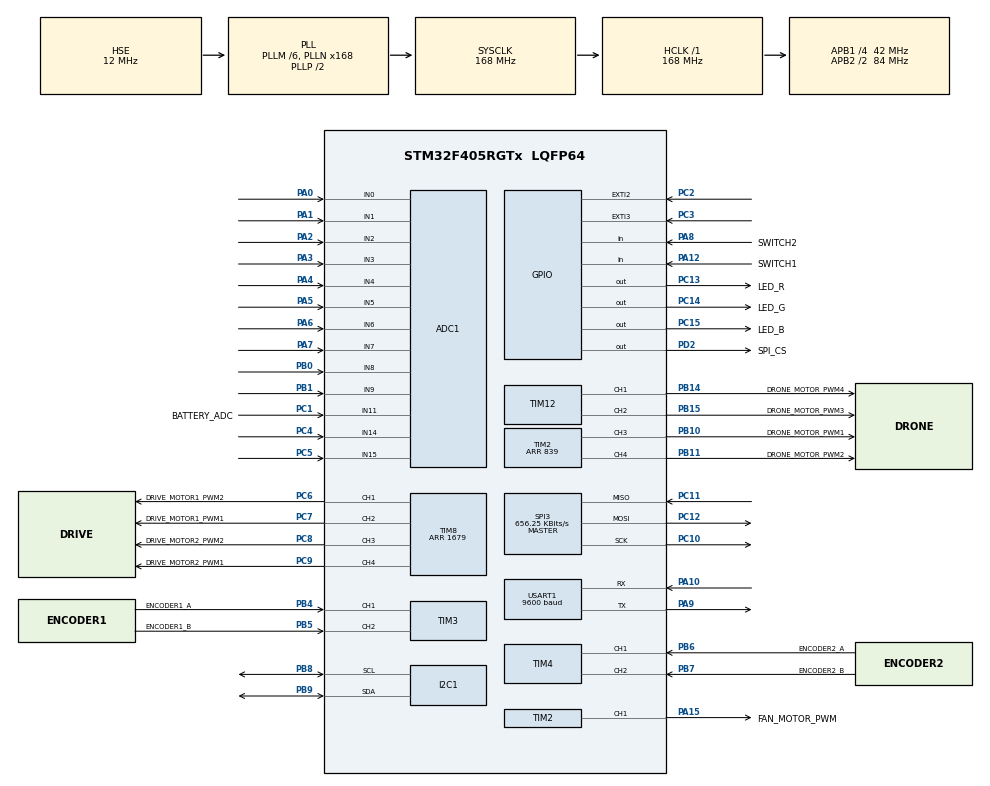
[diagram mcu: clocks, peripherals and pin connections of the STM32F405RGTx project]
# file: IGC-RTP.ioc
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ADC1.Channel-0\#ChannelRegularConversion=ADC_CHANNEL_0
ADC1.Channel-1\#ChannelRegularConversion=ADC_CHANNEL_1
ADC1.Channel-10\#ChannelRegularConversion=ADC_CHANNEL_14
ADC1.Channel-11\#ChannelRegularConversion=ADC_CHANNEL_15
ADC1.Channel-2\#ChannelRegularConversion=ADC_CHANNEL_2
ADC1.Channel-3\#ChannelRegularConversion=ADC_CHANNEL_3
ADC1.Channel-4\#ChannelRegularConversion=ADC_CHANNEL_4
ADC1.Channel-5\#ChannelRegularConversion=ADC_CHANNEL_5
ADC1.Channel-6\#ChannelRegularConversion=ADC_CHANNEL_6
ADC1.Channel-7\#ChannelRegularConversion=ADC_CHANNEL_7
ADC1.Channel-8\#ChannelRegularConversion=ADC_CHANNEL_8
ADC1.Channel-9\#ChannelRegularConversion=ADC_CHANNEL_9
ADC1.ClockPrescaler=ADC_CLOCK_SYNC_PCLK_DIV4
ADC1.ContinuousConvMode=ENABLE
ADC1.DMAContinuousRequests=ENABLE
ADC1.NbrOfConversion=12
ADC1.NbrOfConversionFlag=1
ADC1.Rank-0\#ChannelRegularConversion=1
ADC1.Rank-1\#ChannelRegularConversion=2
ADC1.Rank-10\#ChannelRegularConversion=11
ADC1.Rank-11\#ChannelRegularConversion=12
ADC1.Rank-2\#ChannelRegularConversion=3
ADC1.Rank-3\#ChannelRegularConversion=4
ADC1.Rank-4\#ChannelRegularConversion=5
ADC1.Rank-5\#ChannelRegularConversion=6
ADC1.Rank-6\#ChannelRegularConversion=7
ADC1.Rank-7\#ChannelRegularConversion=8
ADC1.Rank-8\#ChannelRegularConversion=9
ADC1.Rank-9\#ChannelRegularConversion=10
ADC1.SamplingTime-0\#ChannelRegularConversion=ADC_SAMPLETIME_84CYCLES
ADC1.SamplingTime-1\#ChannelRegularConversion=ADC_SAMPLETIME_84CYCLES
ADC1.SamplingTime-10\#ChannelRegularConversion=ADC_SAMPLETIME_84CYCLES
ADC1.SamplingTime-11\#ChannelRegularConversion=ADC_SAMPLETIME_84CYCLES
ADC1.SamplingTime-2\#ChannelRegularConversion=ADC_SAMPLETIME_84CYCLES
ADC1.SamplingTime-3\#ChannelRegularConversion=ADC_SAMPLETIME_84CYCLES
ADC1.SamplingTime-4\#ChannelRegularConversion=ADC_SAMPLETIME_84CYCLES
ADC1.SamplingTime-5\#ChannelRegularConversion=ADC_SAMPLETIME_84CYCLES
ADC1.SamplingTime-6\#ChannelRegularConversion=ADC_SAMPLETIME_84CYCLES
ADC1.SamplingTime-7\#ChannelRegularConversion=ADC_SAMPLETIME_84CYCLES
ADC1.SamplingTime-8\#ChannelRegularConversion=ADC_SAMPLETIME_84CYCLES
ADC1.SamplingTime-9\#ChannelRegularConversion=ADC_SAMPLETIME_84CYCLES
ADC1.ScanConvMode=ENABLE
ADC1.master=1
ADC2.Channel-0\#ChannelRegularConversion=ADC_CHANNEL_11
ADC2.ClockPrescaler=ADC_CLOCK_SYNC_PCLK_DIV4
ADC2.ContinuousConvMode=ENABLE
ADC2.DMAContinuousRequests=ENABLE
ADC2.NbrOfConversionFlag=1
ADC2.Rank-0\#ChannelRegularConversion=1
ADC2.SamplingTime-0\#ChannelRegularConversion=ADC_SAMPLETIME_480CYCLES
ADC2.ScanConvMode=ENABLE
Dma.ADC1.0.Direction=DMA_PERIPH_TO_MEMORY
Dma.ADC1.0.FIFOMode=DMA_FIFOMODE_DISABLE
Dma.ADC1.0.Instance=DMA2_Stream0
Dma.ADC1.0.MemDataAlignment=DMA_MDATAALIGN_HALFWORD
Dma.ADC1.0.MemInc=DMA_MINC_ENABLE
Dma.ADC1.0.Mode=DMA_CIRCULAR
Dma.ADC1.0.PeriphDataAlignment=DMA_PDATAALIGN_HALFWORD
Dma.ADC1.0.PeriphInc=DMA_PINC_DISABLE
Dma.ADC1.0.Priority=DMA_PRIORITY_LOW
Dma.ADC2.1.Direction=DMA_PERIPH_TO_MEMORY
Dma.ADC2.1.FIFOMode=DMA_FIFOMODE_DISABLE
Dma.ADC2.1.Instance=DMA2_Stream2
Dma.ADC2.1.MemDataAlignment=DMA_MDATAALIGN_HALFWORD
Dma.ADC2.1.MemInc=DMA_MINC_ENABLE
Dma.ADC2.1.Mode=DMA_CIRCULAR
Dma.ADC2.1.PeriphDataAlignment=DMA_PDATAALIGN_HALFWORD
Dma.ADC2.1.PeriphInc=DMA_PINC_DISABLE
Dma.ADC2.1.Priority=DMA_PRIORITY_LOW
Dma.Request0=ADC1
Dma.Request1=ADC2
Mcu.Family=STM32F4
Mcu.Name=STM32F405RGTx
Mcu.Package=LQFP64
NVIC.DMA2_Stream0_IRQn=true\:0\:0\:false\:false\:true\:false\:true
NVIC.DMA2_Stream2_IRQn=true\:0\:0\:false\:false\:true\:false\:true
NVIC.EXTI2_IRQn=true\:0\:0\:false\:false\:true\:true\:true
NVIC.EXTI3_IRQn=true\:0\:0\:false\:false\:true\:true\:true
NVIC.PriorityGroup=NVIC_PRIORITYGROUP_4
NVIC.SPI3_IRQn=true\:0\:0\:false\:false\:true\:true\:true
NVIC.TIM6_DAC_IRQn=true\:0\:0\:false\:false\:true\:true\:true
NVIC.TIM7_IRQn=true\:1\:0\:true\:false\:true\:true\:true
PA0-WKUP.Signal=ADCx_IN0
PA1.Signal=ADCx_IN1
PA10.Mode=Asynchronous
PA10.Signal=USART1_RX
PA12.GPIO_Label=SWITCH1
PA12.GPIO_PuPd=GPIO_PULLUP
PA12.Signal=GPIO_Input
PA13.Mode=Trace_Asynchronous_SW
PA13.Signal=SYS_JTMS-SWDIO
PA14.Mode=Trace_Asynchronous_SW
PA14.Signal=SYS_JTCK-SWCLK
PA15.GPIO_Label=FAN_MOTOR_PWM
PA15.Signal=S_TIM2_CH1_ETR
PA2.Signal=ADCx_IN2
PA3.Signal=ADCx_IN3
PA4.Signal=ADCx_IN4
PA5.Signal=ADCx_IN5
PA6.Signal=ADCx_IN6
PA7.Signal=ADCx_IN7
PA8.GPIO_Label=SWITCH2
PA8.GPIO_PuPd=GPIO_PULLUP
PA8.Signal=GPIO_Input
PA9.Mode=Asynchronous
PA9.Signal=USART1_TX
PB0.Signal=ADCx_IN8
PB1.Signal=ADCx_IN9
PB10.GPIO_Label=DRONE_MOTOR_PWM1
PB10.Signal=S_TIM2_CH3
PB11.GPIO_Label=DRONE_MOTOR_PWM2
PB11.Signal=S_TIM2_CH4
PB14.GPIO_Label=DRONE_MOTOR_PWM4
PB14.Signal=S_TIM12_CH1
PB15.GPIO_Label=DRONE_MOTOR_PWM3
PB15.Signal=S_TIM12_CH2
PB3.Mode=Trace_Asynchronous_SW
PB3.Signal=SYS_JTDO-SWO
PB4.GPIO_Label=ENCODER1_A
PB4.Signal=S_TIM3_CH1
PB5.GPIO_Label=ENCODER1_B
PB5.Signal=S_TIM3_CH2
PB6.GPIO_Label=ENCODER2_A
PB6.Signal=S_TIM4_CH1
PB7.GPIO_Label=ENCODER2_B
PB7.Signal=S_TIM4_CH2
PB8.Mode=I2C
PB8.Signal=I2C1_SCL
PB9.Mode=I2C
PB9.Signal=I2C1_SDA
PC1.GPIO_Label=BATTERY_ADC
PC1.Signal=ADCx_IN11
PC10.Mode=Full_Duplex_Master
PC10.Signal=SPI3_SCK
PC11.Mode=Full_Duplex_Master
PC11.Signal=SPI3_MISO
PC12.Mode=Full_Duplex_Master
PC12.Signal=SPI3_MOSI
PC13-ANTI_TAMP.GPIO_Label=LED_R
PC13-ANTI_TAMP.Signal=GPIO_Output
PC14-OSC32_IN.GPIO_Label=LED_G
PC14-OSC32_IN.Signal=GPIO_Output
PC15-OSC32_OUT.GPIO_Label=LED_B
PC15-OSC32_OUT.Signal=GPIO_Output
PC2.GPIO_ModeDefaultEXTI=GPIO_MODE_IT_RISING_FALLING
PC2.Signal=GPXTI2
PC3.GPIO_ModeDefaultEXTI=GPIO_MODE_IT_RISING_FALLING
PC3.Signal=GPXTI3
PC4.Signal=ADCx_IN14
PC5.Signal=ADCx_IN15
PC6.GPIO_Label=DRIVE_MOTOR1_PWM2
PC6.Signal=S_TIM8_CH1
PC7.GPIO_Label=DRIVE_MOTOR1_PWM1
PC7.Signal=S_TIM8_CH2
PC8.GPIO_Label=DRIVE_MOTOR2_PWM2
PC8.Signal=S_TIM8_CH3
PC9.GPIO_Label=DRIVE_MOTOR2_PWM1
PC9.Signal=S_TIM8_CH4
PD2.GPIO_Label=SPI_CS
PD2.Signal=GPIO_Output
PH0-OSC_IN.Mode=HSE-External-Oscillator
PH0-OSC_IN.Signal=RCC_OSC_IN
PH1-OSC_OUT.Mode=HSE-External-Oscillator
PH1-OSC_OUT.Signal=RCC_OSC_OUT
ProjectManager.HeapSize=0x200
ProjectManager.StackSize=0x400
ProjectManager.TargetToolchain=STM32CubeIDE
RCC.48MHZClocksFreq_Value=48000000
RCC.AHBFreq_Value=168000000
RCC.APB1CLKDivider=RCC_HCLK_DIV4
RCC.APB1Freq_Value=42000000
RCC.APB1TimFreq_Value=84000000
RCC.APB2CLKDivider=RCC_HCLK_DIV2
RCC.APB2Freq_Value=84000000
RCC.APB2TimFreq_Value=168000000
RCC.CortexFreq_Value=168000000
RCC.HCLKFreq_Value=168000000
RCC.HSE_VALUE=12000000
RCC.HSI_VALUE=16000000
RCC.LSE_VALUE=32768
RCC.PLLM=6
RCC.PLLN=168
RCC.PLLQ=7
RCC.PLLSourceVirtual=RCC_PLLSOURCE_HSE
RCC.SYSCLKFreq_VALUE=168000000
RCC.SYSCLKSource=RCC_SYSCLKSOURCE_PLLCLK
RCC.VCOOutputFreq_Value=336000000
SH.ADCx_IN0.0=ADC1_IN0,IN0
SH.ADCx_IN1.0=ADC1_IN1,IN1
SH.ADCx_IN11.0=ADC1_IN11,IN11
SH.ADCx_IN11.1=ADC2_IN11,IN11
SH.ADCx_IN14.0=ADC1_IN14,IN14
SH.ADCx_IN15.0=ADC1_IN15,IN15
SH.ADCx_IN2.0=ADC1_IN2,IN2
SH.ADCx_IN3.0=ADC1_IN3,IN3
SH.ADCx_IN4.0=ADC1_IN4,IN4
SH.ADCx_IN5.0=ADC1_IN5,IN5
SH.ADCx_IN6.0=ADC1_IN6,IN6
SH.ADCx_IN7.0=ADC1_IN7,IN7
SH.ADCx_IN8.0=ADC1_IN8,IN8
SH.ADCx_IN9.0=ADC1_IN9,IN9
SH.S_TIM12_CH1.0=TIM12_CH1,PWM Generation1 CH1
SH.S_TIM12_CH2.0=TIM12_CH2,PWM Generation2 CH2
SH.S_TIM2_CH1_ETR.0=TIM2_CH1,PWM Generation1 CH1
SH.S_TIM2_CH3.0=TIM2_CH3,PWM Generation3 CH3
SH.S_TIM2_CH4.0=TIM2_CH4,PWM Generation4 CH4
SH.S_TIM3_CH1.0=TIM3_CH1,Encoder_Interface
SH.S_TIM3_CH2.0=TIM3_CH2,Encoder_Interface
SH.S_TIM4_CH1.0=TIM4_CH1,Encoder_Interface
SH.S_TIM4_CH2.0=TIM4_CH2,Encoder_Interface
SH.S_TIM8_CH1.0=TIM8_CH1,PWM Generation1 CH1
SH.S_TIM8_CH2.0=TIM8_CH2,PWM Generation2 CH2
SH.S_TIM8_CH3.0=TIM8_CH3,PWM Generation3 CH3
SH.S_TIM8_CH4.0=TIM8_CH4,PWM Generation4 CH4
SPI3.BaudRatePrescaler=SPI_BAUDRATEPRESCALER_64
SPI3.CLKPolarity=SPI_POLARITY_LOW
SPI3.CalculateBaudRate=656.25 KBits/s
SPI3.Direction=SPI_DIRECTION_2LINES
SPI3.Mode=SPI_MODE_MASTER
SPI3.VirtualType=VM_MASTER
TIM12.Channel-PWM\ Generation1\ CH1=TIM_CHANNEL_1
TIM12.Channel-PWM\ Generation2\ CH2=TIM_CHANNEL_2
TIM2.Channel-PWM\ Generation1\ CH1=TIM_CHANNEL_1
TIM2.Channel-PWM\ Generation3\ CH3=TIM_CHANNEL_3
TIM2.Channel-PWM\ Generation4\ CH4=TIM_CHANNEL_4
TIM2.Period=839
TIM3.EncoderMode=TIM_ENCODERMODE_TI12
TIM4.EncoderMode=TIM_ENCODERMODE_TI12
TIM6.Period=1999
TIM6.Prescaler=41
TIM7.Period=199
TIM7.Prescaler=41
TIM8.Channel-PWM\ Generation1\ CH1=TIM_CHANNEL_1
TIM8.Channel-PWM\ Generation2\ CH2=TIM_CHANNEL_2
TIM8.Channel-PWM\ Generation3\ CH3=TIM_CHANNEL_3
TIM8.Channel-PWM\ Generation4\ CH4=TIM_CHANNEL_4
TIM8.Period=1679
USART1.BaudRate=9600
USART1.VirtualMode=VM_ASYNC
VP_TIM6_VS_ClockSourceINT.Mode=Enable_Timer
VP_TIM7_VS_ClockSourceINT.Mode=Enable_Timer
board=custom

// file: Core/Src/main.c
/* USER CODE BEGIN Header */
/**
  ******************************************************************************
  * @file           : main.c
  * @brief          : Main program body
  ******************************************************************************
  * @attention
  *
  * <h2><center>&copy; Copyright (c) 2022 STMicroelectronics.
  * All rights reserved.</center></h2>
  *
  * This software component is licensed by ST under BSD 3-Clause license,
  * the "License"; You may not use this file except in compliance with the
  * License. You may obtain a copy of the License at:
  *                        opensource.org/licenses/BSD-3-Clause
  *
  ******************************************************************************
  */
/* USER CODE END Header */
#include "main.h"

/* USER CODE BEGIN Includes */
#include "Motor.h"
#include "LineSensor.h"
#include "SideSensor.h"
#include "LineChase.h"
#include "Running.h"
#include "MPU6500.h"
#include "IMU.h"
#include "LED.h"
#include "Switch.h"
#include "BatteryChecker.h"
#include "stdio.h"
#include "Logger.h"

/* USER CODE END Includes */

ADC_HandleTypeDef hadc1;
ADC_HandleTypeDef hadc2;
DMA_HandleTypeDef hdma_adc1;
DMA_HandleTypeDef hdma_adc2;

I2C_HandleTypeDef hi2c1;

SPI_HandleTypeDef hspi3;

TIM_HandleTypeDef htim2;
TIM_HandleTypeDef htim3;
TIM_HandleTypeDef htim4;
TIM_HandleTypeDef htim6;
TIM_HandleTypeDef htim7;
TIM_HandleTypeDef htim8;
TIM_HandleTypeDef htim12;

UART_HandleTypeDef huart1;

/* USER CODE BEGIN PV */

uint32_t timer, timer1;
uint16_t second_run_flag;

uint16_t mode_selector = 0;

/* USER CODE END PV */

void SystemClock_Config(void);
static void MX_GPIO_Init(void);
static void MX_DMA_Init(void);
static void MX_ADC1_Init(void);
static void MX_I2C1_Init(void);
static void MX_TIM2_Init(void);
static void MX_TIM3_Init(void);
static void MX_TIM4_Init(void);
static void MX_TIM8_Init(void);
static void MX_SPI3_Init(void);
static void MX_TIM12_Init(void);
static void MX_USART1_UART_Init(void);
static void MX_TIM6_Init(void);
static void MX_TIM7_Init(void);
static void MX_ADC2_Init(void);

/* USER CODE BEGIN 0 */
#ifdef __GNUC__
	#define PUTCHAR_PROTOTYPE int __io_putchar(int ch)
#else
	#define PUTCHAR_PROTOTYPE int fputc(int ch, FILE *f)
#endif /*__GNUC__*/

PUTCHAR_PROTOTYPE{
	HAL_UART_Transmit(&huart1, (uint8_t*)&ch, 1, 0xFFFF);
	return ch;
}

void HAL_TIM_PeriodElapsedCallback(TIM_HandleTypeDef *htim)
{
   if(htim->Instance == TIM6){ //1ms
		timer++;
		updateEncoderCnt(); //Do not move from HERE!!

		batteryCheckFlip();
		updateIMUValue();
		updateAnalogSensor();
		updateSideSensorStatus();

		calculateVelocityControlFlip();
		calculateLineFollowingTermFlip();
		lineTraceFlip();
		checkCourseOut();

		runningFlip();
		motorCtrlFlip();
		droneMotorCtrlFlip();
		suctionMotorCtrlFlip();

		resetEncoderCnt(); //Do not move from HERE!!
   }
   if(htim->Instance == TIM7){ //0.1ms
       timer1++;
       storeAnalogSensorBuffer();
   }
}

void HAL_GPIO_EXTI_Callback(uint16_t GPIO_Pin)
{
	if(GPIO_Pin == GPIO_PIN_2){ //leght
		updateStatusLeftExti();
	}

	else if(GPIO_Pin == GPIO_PIN_3){ //right
		updateStatusRightExti();
	}
}

void init(void)
{
	initEncoder();
	initADC();
	initBatteryChecker();
	initLog();
	setLED('N');
	initGyro();
	if(initGyro() == 1){
		setRGB('B');
		HAL_Delay(1000);
		setRGB('b');
	}
	else{
		setRGB('R');
		HAL_Delay(1000);
		setRGB('r');

	}
	second_run_flag = 1;

	HAL_TIM_Base_Start_IT(&htim6); //Timer interrupt
	HAL_TIM_Base_Start_IT(&htim7); //Timer interrupt
	initMotor();

	setLED('R');
    sensorCalibration();

	HAL_Delay(500);
	if(isBatteryLow() == true){
		uint16_t i = 0;
		for(i = 0; i < 10; i++){
			setLED('R');
			HAL_Delay(33);
			setLED('G');
			HAL_Delay(33);
			setLED('B');
			HAL_Delay(33);
		}
	}
}

/* USER CODE END 0 */

int main(void)
{

  /* MCU Configuration--------------------------------------------------------*/

  /* Reset of all peripherals, Initializes the Flash interface and the Systick. */
  HAL_Init();

  /* Configure the system clock */
  SystemClock_Config();

  /* Initialize all configured peripherals */
  MX_GPIO_Init();
  MX_DMA_Init();
  MX_ADC1_Init();
  MX_I2C1_Init();
  MX_TIM2_Init();
  MX_TIM3_Init();
  MX_TIM4_Init();
  MX_TIM8_Init();
  MX_SPI3_Init();
  MX_TIM12_Init();
  MX_USART1_UART_Init();
  MX_TIM6_Init();
  MX_TIM7_Init();
  MX_ADC2_Init();
  /* USER CODE BEGIN 2 */

  init();

  /*
 	//startLineTrace();
	startVelocityControl();
	setTargetVelocity(1.0);
	//setMotor(300, 300);
	HAL_Delay(500);
	//setMotor(-2000, -2000);
	setTargetVelocity(0.0);
	//stopVelocityControl();
	//setMotor(0, 0);
	*/

  //setMotor(300, 300);
  //while(1);

  /* USER CODE END 2 */

  /* Infinite loop */
  /* USER CODE BEGIN WHILE */
  while (1)
  {

	  if(getSwitchStatus('L') == true){
		  mode_selector++;
		  HAL_Delay(500);
		  if(mode_selector >= 7) mode_selector = 0;
	  }

	  switch(mode_selector){
		  case 0:
			  setLED('B');

			  if(getSwitchStatus('R') == true){ //run
				  setLED('N');
				  setRunMode(1);
				  setVelocityRange(1.5, 1.5);
				  HAL_Delay(500);

				  running();
			  }

			  break;

		  case 1:
			  setLED('C');

			  if(getSwitchStatus('R') == true) { //run
				  setLED('N');
				  setRunMode(2);
				  setVelocityRange(1.7, 3.0);
				  setAccDec(5, 2);
				  setStraightRadius(1000); //Do Not Change
				  HAL_Delay(500);

				  running();
			  }

			  break;

		  case 2:
			  setLED('Y');

			  if(getSwitchStatus('R') == true) { //run

				  setLED('N');
				  setRunMode(3);
				  setVelocityRange(1.7, 4.0);
				  setAccDec(8, 3);
				  setStraightRadius(1000); //Do Not Change
				  HAL_Delay(500);

				  running();
			  }

			  break;

		  case 3:
			  setLED('M');
			  if(getSwitchStatus('R') == true) {

				  setLED('N');
				  setRunMode(3);
				  setVelocityRange(1.6, 5.0);
				  setAccDec(8, 2); //6, 2
				  setStraightRadius(1000); //Do Not Change
				  HAL_Delay(500);

				  running();
			  }

			  break;

		  case 4:
			  setLED('R');
			  if(getSwitchStatus('R') == true) {

				  setLED('N');
				  setRunMode(3);
				  setVelocityRange(2.7, 6.5); //1.7, 6.0
				  setAccDec(8, 3); //8, 3
				  setStraightRadius(1000); //Do Not Change
				  HAL_Delay(500);

				  running();
			  }
			  break;

		  case 5:
			  setLED('G');
			  if(getSwitchStatus('R') == true) {
				  setLED('N');
				  loadDistance();
				  loadTheta();
				  loadCross();
				  loadSide();
				  loadDebug();

				  setRunMode(2);
				  setVelocityRange(1.8, 5.0);
				  setAccDec(8, 3);
				  createVelocityTable();

				  printf("Distance, Theta\r\n");
				  for(uint16_t i = 0; i < getDistanceLogSize(); i++){
					 printf("%f, %f\r\n", getDistanceLog(i), getThetaLog(i));
				  }

				  printf("9999, 9999\r\n");

				  printf("TargetVelocity, CurrentVelocity\r\n");
				  uint16_t size = getDebugLogSize();
				  for(uint16_t i = 0; i < size; i = i+2){
					 printf("%f, %f\r\n", getDebugLog(i), getDebugLog(i + 1));
				  }
			  }

			  break;

		  case 6:
			  setLED('W');
			  if(getSwitchStatus('R') == true) {
				  setSuctionMotor(200);
				  HAL_Delay(1000);
				  setSuctionMotor(0);
			  }
	  };

	  /*
	  //LED
	  HAL_GPIO_WritePin(GPIOC, GPIO_PIN_13, GPIO_PIN_SET);
	  HAL_GPIO_WritePin(GPIOC, GPIO_PIN_14, GPIO_PIN_SET);
	  HAL_GPIO_WritePin(GPIOC, GPIO_PIN_15, GPIO_PIN_SET);

	  //motor_L = 900;
	  //motor_R = 500;
	  HAL_Delay(1000);

	  //LED
	  HAL_GPIO_WritePin(GPIOC, GPIO_PIN_13, GPIO_PIN_RESET);
	  HAL_GPIO_WritePin(GPIOC, GPIO_PIN_14, GPIO_PIN_RESET);
	  HAL_GPIO_WritePin(GPIOC, GPIO_PIN_15, GPIO_PIN_RESET);

	  HAL_Delay(1000);
	  */
    /* USER CODE END WHILE */

  }
}

void SystemClock_Config(void)
{
  RCC_OscInitTypeDef RCC_OscInitStruct = {0};
  RCC_ClkInitTypeDef RCC_ClkInitStruct = {0};

  /** Configure the main internal regulator output voltage
  */
  __HAL_RCC_PWR_CLK_ENABLE();
  __HAL_PWR_VOLTAGESCALING_CONFIG(PWR_REGULATOR_VOLTAGE_SCALE1);
  /** Initializes the RCC Oscillators according to the specified parameters
  * in the RCC_OscInitTypeDef structure.
  */
  RCC_OscInitStruct.OscillatorType = RCC_OSCILLATORTYPE_HSE;
  RCC_OscInitStruct.HSEState = RCC_HSE_ON;
  RCC_OscInitStruct.PLL.PLLState = RCC_PLL_ON;
  RCC_OscInitStruct.PLL.PLLSource = RCC_PLLSOURCE_HSE;
  RCC_OscInitStruct.PLL.PLLM = 6;
  RCC_OscInitStruct.PLL.PLLN = 168;
  RCC_OscInitStruct.PLL.PLLP = RCC_PLLP_DIV2;
  RCC_OscInitStruct.PLL.PLLQ = 7;
  if (HAL_RCC_OscConfig(&RCC_OscInitStruct) != HAL_OK)
  {
    Error_Handler();
  }
  /** Initializes the CPU, AHB and APB buses clocks
  */
  RCC_ClkInitStruct.ClockType = RCC_CLOCKTYPE_HCLK|RCC_CLOCKTYPE_SYSCLK
                              |RCC_CLOCKTYPE_PCLK1|RCC_CLOCKTYPE_PCLK2;
  RCC_ClkInitStruct.SYSCLKSource = RCC_SYSCLKSOURCE_PLLCLK;
  RCC_ClkInitStruct.AHBCLKDivider = RCC_SYSCLK_DIV1;
  RCC_ClkInitStruct.APB1CLKDivider = RCC_HCLK_DIV4;
  RCC_ClkInitStruct.APB2CLKDivider = RCC_HCLK_DIV2;

  if (HAL_RCC_ClockConfig(&RCC_ClkInitStruct, FLASH_LATENCY_5) != HAL_OK)
  {
    Error_Handler();
  }
}

static void MX_ADC1_Init(void)
{

  ADC_ChannelConfTypeDef sConfig = {0};

  /** Configure the global features of the ADC (Clock, Resolution, Data Alignment and number of conversion)
  */
  hadc1.Instance = ADC1;
  hadc1.Init.ClockPrescaler = ADC_CLOCK_SYNC_PCLK_DIV4;
  hadc1.Init.Resolution = ADC_RESOLUTION_12B;
  hadc1.Init.ScanConvMode = ENABLE;
  hadc1.Init.ContinuousConvMode = ENABLE;
  hadc1.Init.DiscontinuousConvMode = DISABLE;
  hadc1.Init.ExternalTrigConvEdge = ADC_EXTERNALTRIGCONVEDGE_NONE;
  hadc1.Init.ExternalTrigConv = ADC_SOFTWARE_START;
  hadc1.Init.DataAlign = ADC_DATAALIGN_RIGHT;
  hadc1.Init.NbrOfConversion = 12;
  hadc1.Init.DMAContinuousRequests = ENABLE;
  hadc1.Init.EOCSelection = ADC_EOC_SINGLE_CONV;
  if (HAL_ADC_Init(&hadc1) != HAL_OK)
  {
    Error_Handler();
  }
  /** Configure for the selected ADC regular channel its corresponding rank in the sequencer and its sample time.
  */
  sConfig.Channel = ADC_CHANNEL_0;
  sConfig.Rank = 1;
  sConfig.SamplingTime = ADC_SAMPLETIME_84CYCLES;
  if (HAL_ADC_ConfigChannel(&hadc1, &sConfig) != HAL_OK)
  {
    Error_Handler();
  }
  /** Configure for the selected ADC regular channel its corresponding rank in the sequencer and its sample time.
  */
  sConfig.Channel = ADC_CHANNEL_1;
  sConfig.Rank = 2;
  if (HAL_ADC_ConfigChannel(&hadc1, &sConfig) != HAL_OK)
  {
    Error_Handler();
  }
  /** Configure for the selected ADC regular channel its corresponding rank in the sequencer and its sample time.
  */
  sConfig.Channel = ADC_CHANNEL_2;
  sConfig.Rank = 3;
  if (HAL_ADC_ConfigChannel(&hadc1, &sConfig) != HAL_OK)
  {
    Error_Handler();
  }
  /** Configure for the selected ADC regular channel its corresponding rank in the sequencer and its sample time.
  */
  sConfig.Channel = ADC_CHANNEL_3;
  sConfig.Rank = 4;
  if (HAL_ADC_ConfigChannel(&hadc1, &sConfig) != HAL_OK)
  {
    Error_Handler();
  }
  /** Configure for the selected ADC regular channel its corresponding rank in the sequencer and its sample time.
  */
  sConfig.Channel = ADC_CHANNEL_4;
  sConfig.Rank = 5;
  if (HAL_ADC_ConfigChannel(&hadc1, &sConfig) != HAL_OK)
  {
    Error_Handler();
  }
  /** Configure for the selected ADC regular channel its corresponding rank in the sequencer and its sample time.
  */
  sConfig.Channel = ADC_CHANNEL_5;
  sConfig.Rank = 6;
  if (HAL_ADC_ConfigChannel(&hadc1, &sConfig) != HAL_OK)
  {
    Error_Handler();
  }
  /** Configure for the selected ADC regular channel its corresponding rank in the sequencer and its sample time.
  */
  sConfig.Channel = ADC_CHANNEL_6;
  sConfig.Rank = 7;
  if (HAL_ADC_ConfigChannel(&hadc1, &sConfig) != HAL_OK)
  {
    Error_Handler();
  }
  /** Configure for the selected ADC regular channel its corresponding rank in the sequencer and its sample time.
  */
  sConfig.Channel = ADC_CHANNEL_7;
  sConfig.Rank = 8;
  if (HAL_ADC_ConfigChannel(&hadc1, &sConfig) != HAL_OK)
  {
    Error_Handler();
  }
  /** Configure for the selected ADC regular channel its corresponding rank in the sequencer and its sample time.
  */
  sConfig.Channel = ADC_CHANNEL_8;
  sConfig.Rank = 9;
  if (HAL_ADC_ConfigChannel(&hadc1, &sConfig) != HAL_OK)
  {
    Error_Handler();
  }
  /** Configure for the selected ADC regular channel its corresponding rank in the sequencer and its sample time.
  */
  sConfig.Channel = ADC_CHANNEL_9;
  sConfig.Rank = 10;
  if (HAL_ADC_ConfigChannel(&hadc1, &sConfig) != HAL_OK)
  {
    Error_Handler();
  }
  /** Configure for the selected ADC regular channel its corresponding rank in the sequencer and its sample time.
  */
  sConfig.Channel = ADC_CHANNEL_14;
  sConfig.Rank = 11;
  if (HAL_ADC_ConfigChannel(&hadc1, &sConfig) != HAL_OK)
  {
    Error_Handler();
  }
  /** Configure for the selected ADC regular channel its corresponding rank in the sequencer and its sample time.
  */
  sConfig.Channel = ADC_CHANNEL_15;
  sConfig.Rank = 12;
  if (HAL_ADC_ConfigChannel(&hadc1, &sConfig) != HAL_OK)
  {
    Error_Handler();
  }

}

static void MX_ADC2_Init(void)
{

  ADC_ChannelConfTypeDef sConfig = {0};

  /** Configure the global features of the ADC (Clock, Resolution, Data Alignment and number of conversion)
  */
  hadc2.Instance = ADC2;
  hadc2.Init.ClockPrescaler = ADC_CLOCK_SYNC_PCLK_DIV4;
  hadc2.Init.Resolution = ADC_RESOLUTION_12B;
  hadc2.Init.ScanConvMode = ENABLE;
  hadc2.Init.ContinuousConvMode = ENABLE;
  hadc2.Init.DiscontinuousConvMode = DISABLE;
  hadc2.Init.ExternalTrigConvEdge = ADC_EXTERNALTRIGCONVEDGE_NONE;
  hadc2.Init.ExternalTrigConv = ADC_SOFTWARE_START;
  hadc2.Init.DataAlign = ADC_DATAALIGN_RIGHT;
  hadc2.Init.NbrOfConversion = 1;
  hadc2.Init.DMAContinuousRequests = ENABLE;
  hadc2.Init.EOCSelection = ADC_EOC_SINGLE_CONV;
  if (HAL_ADC_Init(&hadc2) != HAL_OK)
  {
    Error_Handler();
  }
  /** Configure for the selected ADC regular channel its corresponding rank in the sequencer and its sample time.
  */
  sConfig.Channel = ADC_CHANNEL_11;
  sConfig.Rank = 1;
  sConfig.SamplingTime = ADC_SAMPLETIME_480CYCLES;
  if (HAL_ADC_ConfigChannel(&hadc2, &sConfig) != HAL_OK)
  {
    Error_Handler();
  }

}

static void MX_I2C1_Init(void)
{

  hi2c1.Instance = I2C1;
  hi2c1.Init.ClockSpeed = 100000;
  hi2c1.Init.DutyCycle = I2C_DUTYCYCLE_2;
  hi2c1.Init.OwnAddress1 = 0;
  hi2c1.Init.AddressingMode = I2C_ADDRESSINGMODE_7BIT;
  hi2c1.Init.DualAddressMode = I2C_DUALADDRESS_DISABLE;
  hi2c1.Init.OwnAddress2 = 0;
  hi2c1.Init.GeneralCallMode = I2C_GENERALCALL_DISABLE;
  hi2c1.Init.NoStretchMode = I2C_NOSTRETCH_DISABLE;
  if (HAL_I2C_Init(&hi2c1) != HAL_OK)
  {
    Error_Handler();
  }

}

static void MX_SPI3_Init(void)
{

  /* SPI3 parameter configuration*/
  hspi3.Instance = SPI3;
  hspi3.Init.Mode = SPI_MODE_MASTER;
  hspi3.Init.Direction = SPI_DIRECTION_2LINES;
  hspi3.Init.DataSize = SPI_DATASIZE_8BIT;
  hspi3.Init.CLKPolarity = SPI_POLARITY_LOW;
  hspi3.Init.CLKPhase = SPI_PHASE_1EDGE;
  hspi3.Init.NSS = SPI_NSS_SOFT;
  hspi3.Init.BaudRatePrescaler = SPI_BAUDRATEPRESCALER_64;
  hspi3.Init.FirstBit = SPI_FIRSTBIT_MSB;
  hspi3.Init.TIMode = SPI_TIMODE_DISABLE;
  hspi3.Init.CRCCalculation = SPI_CRCCALCULATION_DISABLE;
  hspi3.Init.CRCPolynomial = 10;
  if (HAL_SPI_Init(&hspi3) != HAL_OK)
  {
    Error_Handler();
  }

}

static void MX_TIM2_Init(void)
{

  TIM_MasterConfigTypeDef sMasterConfig = {0};
  TIM_OC_InitTypeDef sConfigOC = {0};

  htim2.Instance = TIM2;
  htim2.Init.Prescaler = 0;
  htim2.Init.CounterMode = TIM_COUNTERMODE_UP;
  htim2.Init.Period = 839;
  htim2.Init.ClockDivision = TIM_CLOCKDIVISION_DIV1;
  htim2.Init.AutoReloadPreload = TIM_AUTORELOAD_PRELOAD_DISABLE;
  if (HAL_TIM_PWM_Init(&htim2) != HAL_OK)
  {
    Error_Handler();
  }
  sMasterConfig.MasterOutputTrigger = TIM_TRGO_RESET;
  sMasterConfig.MasterSlaveMode = TIM_MASTERSLAVEMODE_DISABLE;
  if (HAL_TIMEx_MasterConfigSynchronization(&htim2, &sMasterConfig) != HAL_OK)
  {
    Error_Handler();
  }
  sConfigOC.OCMode = TIM_OCMODE_PWM1;
  sConfigOC.Pulse = 0;
  sConfigOC.OCPolarity = TIM_OCPOLARITY_HIGH;
  sConfigOC.OCFastMode = TIM_OCFAST_DISABLE;
  if (HAL_TIM_PWM_ConfigChannel(&htim2, &sConfigOC, TIM_CHANNEL_1) != HAL_OK)
  {
    Error_Handler();
  }
  if (HAL_TIM_PWM_ConfigChannel(&htim2, &sConfigOC, TIM_CHANNEL_3) != HAL_OK)
  {
    Error_Handler();
  }
  if (HAL_TIM_PWM_ConfigChannel(&htim2, &sConfigOC, TIM_CHANNEL_4) != HAL_OK)
  {
    Error_Handler();
  }
  HAL_TIM_MspPostInit(&htim2);

}

static void MX_TIM3_Init(void)
{

  TIM_Encoder_InitTypeDef sConfig = {0};
  TIM_MasterConfigTypeDef sMasterConfig = {0};

  htim3.Instance = TIM3;
  htim3.Init.Prescaler = 0;
  htim3.Init.CounterMode = TIM_COUNTERMODE_UP;
  htim3.Init.Period = 65535;
  htim3.Init.ClockDivision = TIM_CLOCKDIVISION_DIV1;
  htim3.Init.AutoReloadPreload = TIM_AUTORELOAD_PRELOAD_DISABLE;
  sConfig.EncoderMode = TIM_ENCODERMODE_TI12;
  sConfig.IC1Polarity = TIM_ICPOLARITY_RISING;
  sConfig.IC1Selection = TIM_ICSELECTION_DIRECTTI;
  sConfig.IC1Prescaler = TIM_ICPSC_DIV1;
  sConfig.IC1Filter = 0;
  sConfig.IC2Polarity = TIM_ICPOLARITY_RISING;
  sConfig.IC2Selection = TIM_ICSELECTION_DIRECTTI;
  sConfig.IC2Prescaler = TIM_ICPSC_DIV1;
  sConfig.IC2Filter = 0;
  if (HAL_TIM_Encoder_Init(&htim3, &sConfig) != HAL_OK)
  {
    Error_Handler();
  }
  sMasterConfig.MasterOutputTrigger = TIM_TRGO_RESET;
  sMasterConfig.MasterSlaveMode = TIM_MASTERSLAVEMODE_DISABLE;
  if (HAL_TIMEx_MasterConfigSynchronization(&htim3, &sMasterConfig) != HAL_OK)
  {
    Error_Handler();
  }

}

static void MX_TIM4_Init(void)
{

  TIM_Encoder_InitTypeDef sConfig = {0};
  TIM_MasterConfigTypeDef sMasterConfig = {0};

  htim4.Instance = TIM4;
  htim4.Init.Prescaler = 0;
  htim4.Init.CounterMode = TIM_COUNTERMODE_UP;
  htim4.Init.Period = 65535;
  htim4.Init.ClockDivision = TIM_CLOCKDIVISION_DIV1;
  htim4.Init.AutoReloadPreload = TIM_AUTORELOAD_PRELOAD_DISABLE;
  sConfig.EncoderMode = TIM_ENCODERMODE_TI12;
  sConfig.IC1Polarity = TIM_ICPOLARITY_RISING;
  sConfig.IC1Selection = TIM_ICSELECTION_DIRECTTI;
  sConfig.IC1Prescaler = TIM_ICPSC_DIV1;
  sConfig.IC1Filter = 0;
  sConfig.IC2Polarity = TIM_ICPOLARITY_RISING;
  sConfig.IC2Selection = TIM_ICSELECTION_DIRECTTI;
  sConfig.IC2Prescaler = TIM_ICPSC_DIV1;
  sConfig.IC2Filter = 0;
  if (HAL_TIM_Encoder_Init(&htim4, &sConfig) != HAL_OK)
  {
    Error_Handler();
  }
  sMasterConfig.MasterOutputTrigger = TIM_TRGO_RESET;
  sMasterConfig.MasterSlaveMode = TIM_MASTERSLAVEMODE_DISABLE;
  if (HAL_TIMEx_MasterConfigSynchronization(&htim4, &sMasterConfig) != HAL_OK)
  {
    Error_Handler();
  }

}

static void MX_TIM6_Init(void)
{

  TIM_MasterConfigTypeDef sMasterConfig = {0};

  htim6.Instance = TIM6;
  htim6.Init.Prescaler = 41;
  htim6.Init.CounterMode = TIM_COUNTERMODE_UP;
  htim6.Init.Period = 1999;
  htim6.Init.AutoReloadPreload = TIM_AUTORELOAD_PRELOAD_DISABLE;
  if (HAL_TIM_Base_Init(&htim6) != HAL_OK)
  {
    Error_Handler();
  }
  sMasterConfig.MasterOutputTrigger = TIM_TRGO_RESET;
  sMasterConfig.MasterSlaveMode = TIM_MASTERSLAVEMODE_DISABLE;
  if (HAL_TIMEx_MasterConfigSynchronization(&htim6, &sMasterConfig) != HAL_OK)
  {
    Error_Handler();
  }

}

static void MX_TIM7_Init(void)
{

  TIM_MasterConfigTypeDef sMasterConfig = {0};

  htim7.Instance = TIM7;
  htim7.Init.Prescaler = 41;
  htim7.Init.CounterMode = TIM_COUNTERMODE_UP;
  htim7.Init.Period = 199;
  htim7.Init.AutoReloadPreload = TIM_AUTORELOAD_PRELOAD_DISABLE;
  if (HAL_TIM_Base_Init(&htim7) != HAL_OK)
  {
    Error_Handler();
  }
  sMasterConfig.MasterOutputTrigger = TIM_TRGO_RESET;
  sMasterConfig.MasterSlaveMode = TIM_MASTERSLAVEMODE_DISABLE;
  if (HAL_TIMEx_MasterConfigSynchronization(&htim7, &sMasterConfig) != HAL_OK)
  {
    Error_Handler();
  }

}

static void MX_TIM8_Init(void)
{

  TIM_MasterConfigTypeDef sMasterConfig = {0};
  TIM_OC_InitTypeDef sConfigOC = {0};
  TIM_BreakDeadTimeConfigTypeDef sBreakDeadTimeConfig = {0};

  htim8.Instance = TIM8;
  htim8.Init.Prescaler = 0;
  htim8.Init.CounterMode = TIM_COUNTERMODE_UP;
  htim8.Init.Period = 1679;
  htim8.Init.ClockDivision = TIM_CLOCKDIVISION_DIV1;
  htim8.Init.RepetitionCounter = 0;
  htim8.Init.AutoReloadPreload = TIM_AUTORELOAD_PRELOAD_DISABLE;
  if (HAL_TIM_PWM_Init(&htim8) != HAL_OK)
  {
    Error_Handler();
  }
  sMasterConfig.MasterOutputTrigger = TIM_TRGO_RESET;
  sMasterConfig.MasterSlaveMode = TIM_MASTERSLAVEMODE_DISABLE;
  if (HAL_TIMEx_MasterConfigSynchronization(&htim8, &sMasterConfig) != HAL_OK)
  {
    Error_Handler();
  }
  sConfigOC.OCMode = TIM_OCMODE_PWM1;
  sConfigOC.Pulse = 0;
  sConfigOC.OCPolarity = TIM_OCPOLARITY_HIGH;
  sConfigOC.OCNPolarity = TIM_OCNPOLARITY_HIGH;
  sConfigOC.OCFastMode = TIM_OCFAST_DISABLE;
  sConfigOC.OCIdleState = TIM_OCIDLESTATE_RESET;
  sConfigOC.OCNIdleState = TIM_OCNIDLESTATE_RESET;
  if (HAL_TIM_PWM_ConfigChannel(&htim8, &sConfigOC, TIM_CHANNEL_1) != HAL_OK)
  {
    Error_Handler();
  }
  if (HAL_TIM_PWM_ConfigChannel(&htim8, &sConfigOC, TIM_CHANNEL_2) != HAL_OK)
  {
    Error_Handler();
  }
  if (HAL_TIM_PWM_ConfigChannel(&htim8, &sConfigOC, TIM_CHANNEL_3) != HAL_OK)
  {
    Error_Handler();
  }
  if (HAL_TIM_PWM_ConfigChannel(&htim8, &sConfigOC, TIM_CHANNEL_4) != HAL_OK)
  {
    Error_Handler();
  }
  sBreakDeadTimeConfig.OffStateRunMode = TIM_OSSR_DISABLE;
  sBreakDeadTimeConfig.OffStateIDLEMode = TIM_OSSI_DISABLE;
  sBreakDeadTimeConfig.LockLevel = TIM_LOCKLEVEL_OFF;
  sBreakDeadTimeConfig.DeadTime = 0;
  sBreakDeadTimeConfig.BreakState = TIM_BREAK_DISABLE;
  sBreakDeadTimeConfig.BreakPolarity = TIM_BREAKPOLARITY_HIGH;
  sBreakDeadTimeConfig.AutomaticOutput = TIM_AUTOMATICOUTPUT_DISABLE;
  if (HAL_TIMEx_ConfigBreakDeadTime(&htim8, &sBreakDeadTimeConfig) != HAL_OK)
  {
    Error_Handler();
  }
  HAL_TIM_MspPostInit(&htim8);

}

static void MX_TIM12_Init(void)
{

  TIM_OC_InitTypeDef sConfigOC = {0};

  htim12.Instance = TIM12;
  htim12.Init.Prescaler = 0;
  htim12.Init.CounterMode = TIM_COUNTERMODE_UP;
  htim12.Init.Period = 65535;
  htim12.Init.ClockDivision = TIM_CLOCKDIVISION_DIV1;
  htim12.Init.AutoReloadPreload = TIM_AUTORELOAD_PRELOAD_DISABLE;
  if (HAL_TIM_PWM_Init(&htim12) != HAL_OK)
  {
    Error_Handler();
  }
  sConfigOC.OCMode = TIM_OCMODE_PWM1;
  sConfigOC.Pulse = 0;
  sConfigOC.OCPolarity = TIM_OCPOLARITY_HIGH;
  sConfigOC.OCFastMode = TIM_OCFAST_DISABLE;
  if (HAL_TIM_PWM_ConfigChannel(&htim12, &sConfigOC, TIM_CHANNEL_1) != HAL_OK)
  {
    Error_Handler();
  }
  if (HAL_TIM_PWM_ConfigChannel(&htim12, &sConfigOC, TIM_CHANNEL_2) != HAL_OK)
  {
    Error_Handler();
  }
  HAL_TIM_MspPostInit(&htim12);

}

static void MX_USART1_UART_Init(void)
{

  huart1.Instance = USART1;
  huart1.Init.BaudRate = 9600;
  huart1.Init.WordLength = UART_WORDLENGTH_8B;
  huart1.Init.StopBits = UART_STOPBITS_1;
  huart1.Init.Parity = UART_PARITY_NONE;
  huart1.Init.Mode = UART_MODE_TX_RX;
  huart1.Init.HwFlowCtl = UART_HWCONTROL_NONE;
  huart1.Init.OverSampling = UART_OVERSAMPLING_16;
  if (HAL_UART_Init(&huart1) != HAL_OK)
  {
    Error_Handler();
  }

}

static void MX_DMA_Init(void)
{

  /* DMA controller clock enable */
  __HAL_RCC_DMA2_CLK_ENABLE();

  /* DMA interrupt init */
  /* DMA2_Stream0_IRQn interrupt configuration */
  HAL_NVIC_SetPriority(DMA2_Stream0_IRQn, 0, 0);
  HAL_NVIC_EnableIRQ(DMA2_Stream0_IRQn);
  /* DMA2_Stream2_IRQn interrupt configuration */
  HAL_NVIC_SetPriority(DMA2_Stream2_IRQn, 0, 0);
  HAL_NVIC_EnableIRQ(DMA2_Stream2_IRQn);

}

static void MX_GPIO_Init(void)
{
  GPIO_InitTypeDef GPIO_InitStruct = {0};

  /* GPIO Ports Clock Enable */
  __HAL_RCC_GPIOC_CLK_ENABLE();
  __HAL_RCC_GPIOH_CLK_ENABLE();
  __HAL_RCC_GPIOA_CLK_ENABLE();
  __HAL_RCC_GPIOB_CLK_ENABLE();
  __HAL_RCC_GPIOD_CLK_ENABLE();

  /*Configure GPIO pin Output Level */
  HAL_GPIO_WritePin(GPIOC, LED_R_Pin|LED_G_Pin|LED_B_Pin, GPIO_PIN_RESET);

  /*Configure GPIO pin Output Level */
  HAL_GPIO_WritePin(SPI_CS_GPIO_Port, SPI_CS_Pin, GPIO_PIN_RESET);

  /*Configure GPIO pins : LED_R_Pin LED_G_Pin LED_B_Pin */
  GPIO_InitStruct.Pin = LED_R_Pin|LED_G_Pin|LED_B_Pin;
  GPIO_InitStruct.Mode = GPIO_MODE_OUTPUT_PP;
  GPIO_InitStruct.Pull = GPIO_NOPULL;
  GPIO_InitStruct.Speed = GPIO_SPEED_FREQ_LOW;
  HAL_GPIO_Init(GPIOC, &GPIO_InitStruct);

  /*Configure GPIO pins : PC2 PC3 */
  GPIO_InitStruct.Pin = GPIO_PIN_2|GPIO_PIN_3;
  GPIO_InitStruct.Mode = GPIO_MODE_IT_RISING_FALLING;
  GPIO_InitStruct.Pull = GPIO_NOPULL;
  HAL_GPIO_Init(GPIOC, &GPIO_InitStruct);

  /*Configure GPIO pins : SWITCH2_Pin SWITCH1_Pin */
  GPIO_InitStruct.Pin = SWITCH2_Pin|SWITCH1_Pin;
  GPIO_InitStruct.Mode = GPIO_MODE_INPUT;
  GPIO_InitStruct.Pull = GPIO_PULLUP;
  HAL_GPIO_Init(GPIOA, &GPIO_InitStruct);

  /*Configure GPIO pin : SPI_CS_Pin */
  GPIO_InitStruct.Pin = SPI_CS_Pin;
  GPIO_InitStruct.Mode = GPIO_MODE_OUTPUT_PP;
  GPIO_InitStruct.Pull = GPIO_NOPULL;
  GPIO_InitStruct.Speed = GPIO_SPEED_FREQ_LOW;
  HAL_GPIO_Init(SPI_CS_GPIO_Port, &GPIO_InitStruct);

  /* EXTI interrupt init*/
  HAL_NVIC_SetPriority(EXTI2_IRQn, 0, 0);
  HAL_NVIC_EnableIRQ(EXTI2_IRQn);

  HAL_NVIC_SetPriority(EXTI3_IRQn, 0, 0);
  HAL_NVIC_EnableIRQ(EXTI3_IRQn);

}

void Error_Handler(void)
{
  __disable_irq();
  while (1)
  {
  }
}

/************************ (C) COPYRIGHT STMicroelectronics *****END OF FILE****/
